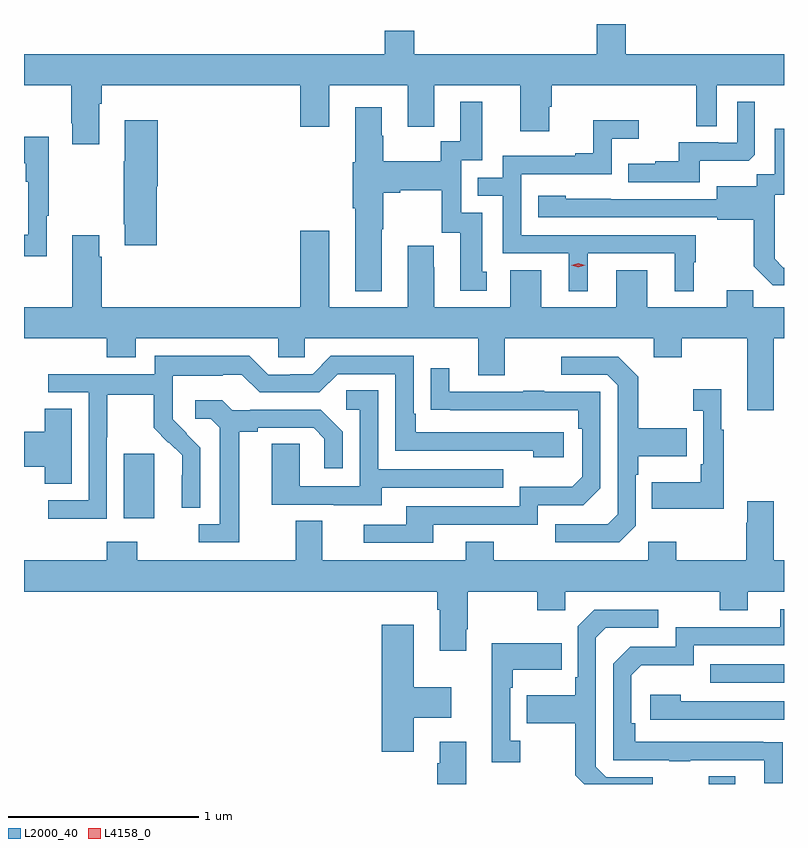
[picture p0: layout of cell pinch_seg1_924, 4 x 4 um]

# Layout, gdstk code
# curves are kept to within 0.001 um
import gdstk
lib = gdstk.Library(unit=1e-6, precision=1e-09)
def R(c, l, rs):  # rectangles x0, y0, x1, y1
    for r in rs: c.add(gdstk.rectangle(r[:2], r[2:], *l))
def P(c, l, *ps):  # polygons
    for p in ps: c.add(gdstk.Polygon(p, *l))
L2000_40 = (2000, 40)
L4158_0 = (4158, 0)

pinch_seg1_924 = lib.new_cell('pinch_seg1_924')
R(pinch_seg1_924, L2000_40, [(176.171,536.067,176.311,536.107), (176.179,536.601,176.568,536.697), (173.093,537.465,173.254,537.805)])
P(pinch_seg1_924, L2000_40, [(172.963,539.648),(172.976,539.648),(172.976,539.744),(174.023,539.744),(174.023,539.526),(174.175,539.526),(174.175,539.744),(174.587,539.744),(174.587,539.526),(174.727,539.526),(174.727,539.744),(175.181,539.744),(175.181,539.502),(175.333,539.502),(175.333,539.631),(175.346,539.631),(175.346,539.744),(176.106,539.744),(176.106,539.53),(176.214,539.53),(176.214,539.744),(176.568,539.744),(176.568,539.908),(175.736,539.908),(175.736,540.067),(175.583,540.067),(175.583,539.908),(174.623,539.908),(174.623,540.032),(174.467,540.032),(174.467,539.908),(172.568,539.908),(172.568,539.744),(172.816,539.744),(172.816,539.545),(172.823,539.545),(172.823,539.433),(172.963,539.433)],
  [(176.125,539.348),(176.383,539.348),(176.415,539.379),(176.415,539.659),(176.322,539.659),(176.322,539.442),(176.222,539.442),(176.222,539.445),(176.015,539.445),(176.015,539.344),(175.891,539.344),(175.891,539.332),(175.747,539.332),(175.747,539.235),(176.125,539.235)],
  [(174.451,538.987),(174.459,538.987),(174.459,539.18),(174.547,539.18),(174.547,539.192),(174.767,539.192),(174.767,538.968),(174.863,538.968),(174.863,538.662),(175.003,538.662),(175.003,538.764),(174.979,538.764),(174.979,539.073),(174.87,539.073),(174.87,539.349),(174.979,539.349),(174.979,539.659),(174.863,539.659),(174.863,539.45),(174.762,539.45),(174.762,539.344),(174.459,539.344),(174.459,539.478),(174.451,539.478),(174.451,539.629),(174.311,539.629),(174.311,539.34),(174.299,539.34),(174.299,539.096),(174.311,539.096),(174.311,538.661),(174.451,538.661)],
  [(175.534,538.86),(175.994,538.86),(175.994,538.661),(176.092,538.661),(176.092,538.812),(176.104,538.812),(176.104,538.956),(175.185,538.956),(175.185,539.277),(175.662,539.277),(175.662,539.462),(175.804,539.462),(175.804,539.561),(175.564,539.561),(175.564,539.386),(175.469,539.386),(175.469,539.373),(175.089,539.373),(175.089,539.259),(174.955,539.259),(174.955,539.163),(175.089,539.163),(175.089,538.86),(175.436,538.86),(175.436,538.661),(175.534,538.661)],
  [(173.267,539.214),(173.272,539.214),(173.272,539.56),(173.099,539.56),(173.099,539.345),(173.092,539.345),(173.092,539.014),(173.099,539.014),(173.099,538.902),(173.267,538.902)],
  [(176.568,538.785),(176.565,538.785),(176.518,538.832),(176.518,538.927),(176.52,538.927),(176.52,539.168),(176.568,539.168),(176.568,539.515),(176.519,539.515),(176.519,539.276),(176.424,539.276),(176.424,539.212),(176.213,539.212),(176.213,539.145),(175.419,539.146),(175.419,539.164),(175.275,539.164),(175.275,539.049),(176.217,539.049),(176.217,539.037),(176.409,539.037),(176.409,538.791),(176.509,538.691),(176.568,538.691)],
  [(172.687,539.057),(172.699,539.057),(172.699,539.473),(172.568,539.473),(172.568,539.333),(172.578,539.333),(172.578,539.237),(172.59,539.237),(172.59,538.958),(172.568,538.958),(172.568,538.845),(172.687,538.845)],
  [(176.515,538.412),(176.568,538.412),(176.568,538.576),(176.405,538.576),(176.405,538.667),(176.267,538.667),(176.267,538.576),(175.849,538.576),(175.849,538.771),(175.685,538.771),(175.685,538.576),(175.291,538.576),(175.291,538.771),(175.127,538.771),(175.127,538.576),(174.727,538.576),(174.727,538.787),(174.724,538.787),(174.724,538.9),(174.587,538.9),(174.587,538.576),(174.175,538.576),(174.175,538.978),(174.023,538.978),(174.023,538.576),(172.976,538.576),(172.976,538.841),(172.963,538.841),(172.963,538.954),(172.823,538.954),(172.823,538.576),(172.568,538.576),(172.568,538.412),(173.003,538.412),(173.003,538.313),(173.155,538.313),(173.155,538.412),(173.907,538.412),(173.907,538.314),(174.045,538.314),(174.045,538.412),(174.959,538.412),(174.959,538.218),(175.099,538.218),(175.099,538.412),(175.883,538.412),(175.883,538.313),(176.031,538.313),(176.031,538.412),(176.375,538.412),(176.375,538.035),(176.515,538.035)],
  [(173.004,537.892),(173.007,537.892),(173.007,538.116),(173.251,538.116),(173.251,537.941),(173.328,537.864),(173.331,537.867),(173.402,537.797),(173.402,537.692),(173.399,537.692),(173.399,537.52),(173.496,537.52),(173.496,537.838),(173.35,537.986),(173.35,538.083),(173.352,538.083),(173.352,538.217),(173.615,538.217),(173.615,538.221),(173.715,538.221),(173.808,538.128),(174.123,538.128),(174.219,538.224),(174.522,538.224),(174.522,537.822),(175.247,537.822),(175.247,537.788),(175.408,537.788),(175.408,537.918),(174.631,537.918),(174.631,538.015),(174.618,538.015),(174.618,538.32),(174.183,538.32),(174.087,538.224),(173.969,538.224),(173.969,538.221),(173.853,538.221),(173.753,538.321),(173.256,538.321),(173.256,538.224),(172.695,538.224),(172.695,538.128),(172.908,538.128),(172.908,537.561),(172.695,537.561),(172.695,537.463),(173.004,537.463)],
  [(175.788,537.426),(175.788,537.695),(175.801,537.695),(175.801,537.791),(176.057,537.791),(176.057,537.939),(175.801,537.939),(175.801,538.211),(175.695,538.317),(175.395,538.317),(175.395,538.221),(175.638,538.221),(175.692,538.167),(175.692,537.486),(175.641,537.435),(175.365,537.435),(175.365,537.339),(175.701,537.339)],
  [(174.721,537.432),(175.272,537.432),(175.272,537.534),(175.512,537.534),(175.602,537.624),(175.602,538.131),(175.307,538.131),(175.307,538.136),(175.195,538.136),(175.195,538.131),(174.805,538.131),(174.805,538.255),(174.709,538.255),(174.709,538.036),(175.486,538.035),(175.486,537.938),(175.506,537.938),(175.506,537.684),(175.453,537.631),(175.176,537.631),(175.176,537.528),(174.581,537.528),(174.581,537.432),(174.357,537.432),(174.357,537.336),(174.721,537.336)],
  [(176.251,537.931),(176.239,537.931),(176.239,538.144),(176.091,538.144),(176.091,538.031),(176.142,538.031),(176.142,537.751),(176.13,537.751),(176.13,537.655),(175.873,537.655),(175.873,537.515),(176.251,537.515)],
  [(174.451,537.627),(175.091,537.627),(175.091,537.723),(174.432,537.723),(174.432,538.139),(174.264,538.139),(174.264,538.038),(174.336,538.038),(174.336,537.633),(174.018,537.633),(174.018,537.857),(173.873,537.857),(173.873,537.537),(174.197,537.537),(174.197,537.533),(174.451,537.533)],
  [(173.701,537.92),(173.797,537.92),(173.797,537.942),(174.092,537.942),(174.149,537.885),(174.149,537.729),(174.246,537.729),(174.246,537.922),(174.13,538.038),(173.758,538.038),(173.758,538.035),(173.664,538.035),(173.612,538.087),(173.469,538.087),(173.469,537.99),(173.55,537.99),(173.597,537.943),(173.597,537.435),(173.487,537.435),(173.487,537.339),(173.701,537.339)],
  [(172.819,538.043),(172.676,538.043),(172.676,537.92),(172.568,537.92),(172.568,537.737),(172.676,537.737),(172.676,537.646),(172.819,537.646)],
  [(175.041,537.343),(174.893,537.343),(174.893,537.244),(174.139,537.244),(174.139,537.452),(173.999,537.452),(173.999,537.244),(173.163,537.244),(173.163,537.343),(173.003,537.343),(173.003,537.244),(172.568,537.244),(172.568,537.08),(174.743,537.08),(174.743,536.984),(174.755,536.984),(174.755,536.769),(174.895,536.769),(174.895,536.881),(174.903,536.881),(174.903,537.08),(175.27,537.08),(175.27,536.981),(175.416,536.981),(175.416,537.08),(176.23,537.08),(176.23,536.981),(176.377,536.981),(176.377,537.08),(176.568,537.08),(176.568,537.244),(176.515,537.244),(176.515,537.556),(176.375,537.556),(176.375,537.443),(176.368,537.443),(176.368,537.244),(176.001,537.244),(176.001,537.343),(175.854,537.343),(175.854,537.244),(175.041,537.244)],
  [(176.561,536.288),(175.784,536.289),(175.784,536.386),(175.764,536.386),(175.764,536.64),(175.817,536.693),(176.094,536.693),(176.094,536.796),(176.568,536.796),(176.568,536.988),(176.549,536.988),(176.549,536.892),(175.998,536.892),(175.998,536.79),(175.758,536.79),(175.668,536.7),(175.668,536.193),(175.963,536.193),(175.963,536.188),(176.075,536.188),(176.075,536.193),(176.465,536.193),(176.465,536.07),(176.561,536.07)],
  [(175.876,536.103),(175.632,536.103),(175.578,536.157),(175.578,536.838),(175.629,536.889),(175.906,536.889),(175.906,536.985),(175.569,536.985),(175.482,536.898),(175.482,536.629),(175.47,536.629),(175.47,536.533),(175.213,536.533),(175.213,536.386),(175.47,536.386),(175.47,536.113),(175.516,536.067),(175.876,536.067)],
  [(174.619,536.417),(174.817,536.417),(174.817,536.575),(174.619,536.575),(174.619,536.905),(174.452,536.905),(174.452,536.238),(174.619,536.238)],
  [(175.18,536.294),(175.128,536.294),(175.128,536.573),(175.141,536.573),(175.141,536.669),(175.397,536.669),(175.397,536.809),(175.031,536.809),(175.031,536.181),(175.18,536.181)],
  [(176.568,536.502),(176.024,536.502),(176.024,536.536),(175.863,536.536),(175.863,536.406),(176.568,536.406)],
  [(174.895,536.29),(174.755,536.29),(174.755,536.177),(174.743,536.177),(174.743,536.067),(174.895,536.067)])
P(pinch_seg1_924, L4158_0, [(175.485,538.787),(175.449,538.796),(175.449,538.796),(175.449,538.796),(175.485,538.807),(175.521,538.798),(175.521,538.798),(175.521,538.798)])

lib.write_gds('pinch_seg1_924.gds')
